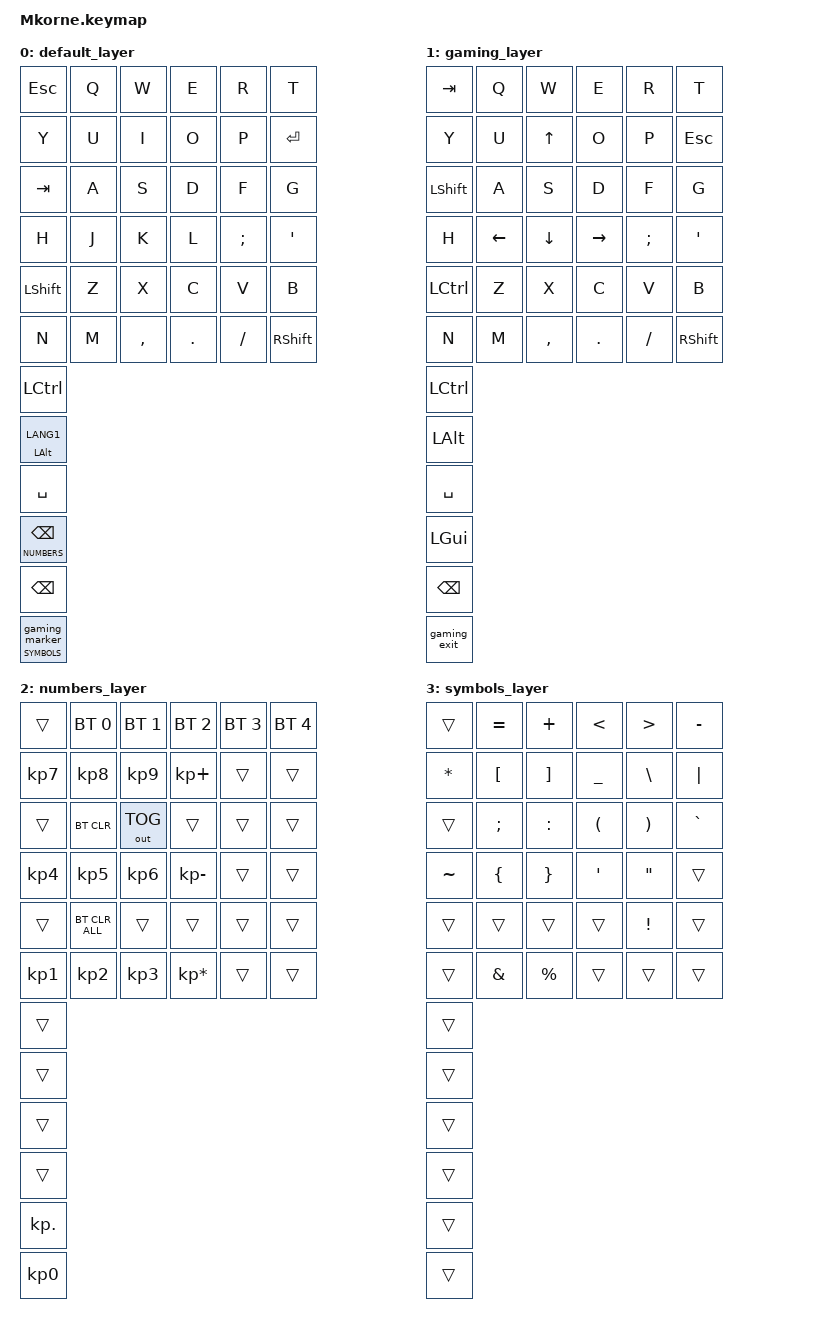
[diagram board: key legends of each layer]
#include <behaviors.dtsi>
#include <dt-bindings/zmk/keys.h>
#include <dt-bindings/zmk/bt.h>
#include <dt-bindings/zmk/outputs.h>

#define DEFAULT 0
#define GAMING  1
#define NUMBERS 2
#define SYMBOLS 3

/ {
    behaviors {

        // ================================================================
        // ALT + SHIFT LANGUAGE SWITCH
        //
        // Tap  = LANG1
        // Hold = ALT
        // ================================================================
        alt_lang: alt_lang {
            compatible = "zmk,behavior-hold-tap";
            #binding-cells = <2>;

            flavor = "hold-preferred";
            tapping-term-ms = <200>;

            bindings = <&kp>, <&kp>;
        };

        // ================================================================
        // NUMBERS marker
        //
        // Wraps &mo NUMBERS so the PC-side overlay can see it live:
        // taps F15 and activates NUMBERS the moment the hold resolves,
        // then (once the physical key is released) deactivates NUMBERS
        // and taps F16. Uses ZMK's documented &macro_pause_for_release
        // pattern (the same one behind the built-in &lm behavior), so
        // the layer is always released cleanly - no stuck-key risk.
        // ================================================================
        numbers_marker: numbers_marker {
            compatible = "zmk,behavior-macro";
            #binding-cells = <0>;
            wait-ms = <0>;
            tap-ms = <0>;

            bindings =
                <&macro_tap &kp F15>,
                <&macro_press &mo NUMBERS>,
                <&macro_pause_for_release>,
                <&macro_release &mo NUMBERS>,
                <&macro_tap &kp F16>;
        };

        // ================================================================
        // NUMBERS / BACKSPACE
        //
        // Tap  = Backspace
        // Hold = NUMBERS layer (via numbers_marker, see above)
        // ================================================================
        unreal_numbers: unreal_numbers {
            compatible = "zmk,behavior-hold-tap";
            #binding-cells = <2>;

            flavor = "hold-preferred";
            tapping-term-ms = <200>;

            bindings = <&numbers_marker>, <&kp>;
        };

        // ================================================================
        // ENTER GAMING
        //
        // Sends F13 first so the PC-side overlay can detect the change,
        // then switches to the GAMING layer.
        // ================================================================
        gaming_marker: gaming_marker {
            compatible = "zmk,behavior-macro";
            #binding-cells = <0>;

            bindings =
                <&macro_tap &kp F13>,
                <&to GAMING>;
        };

        // ================================================================
        // EXIT GAMING
        //
        // Sends F14 first (distinct from the F13 entry marker, so the
        // PC-side overlay can tell entry and exit apart), then switches
        // back to the DEFAULT layer.
        // ================================================================
        gaming_exit: gaming_exit {
            compatible = "zmk,behavior-macro";
            #binding-cells = <0>;

            bindings =
                <&macro_tap &kp F14>,
                <&to DEFAULT>;
        };

        // ================================================================
        // SYMBOLS marker
        //
        // Wraps &mo SYMBOLS the same way numbers_marker wraps &mo NUMBERS:
        // taps F17 and activates SYMBOLS the moment the hold resolves,
        // then (once the physical key is released) deactivates SYMBOLS
        // and taps F18. Lets the PC-side overlay see Symbols live too.
        // ================================================================
        symbols_marker: symbols_marker {
            compatible = "zmk,behavior-macro";
            #binding-cells = <0>;
            wait-ms = <0>;
            tap-ms = <0>;

            bindings =
                <&macro_tap &kp F17>,
                <&macro_press &mo SYMBOLS>,
                <&macro_pause_for_release>,
                <&macro_release &mo SYMBOLS>,
                <&macro_tap &kp F18>;
        };

        // ================================================================
        // GAMING / SYMBOLS
        //
        // Tap  = toggle GAMING
        // Hold = SYMBOLS (via symbols_marker, see above)
        //
        // Used ONLY on the DEFAULT layer.
        // ================================================================
        gaming_symbols: gaming_symbols {
            compatible = "zmk,behavior-hold-tap";
            #binding-cells = <2>;

            flavor = "hold-preferred";
            tapping-term-ms = <200>;

            bindings = <&symbols_marker>, <&gaming_marker>;
        };
    };

    keymap {
        compatible = "zmk,keymap";

        // ================================================================
        // DEFAULT
        // ================================================================
        default_layer {
            bindings = <
                &kp ESC       &kp Q        &kp W        &kp E        &kp R        &kp T
                &kp Y         &kp U        &kp I        &kp O        &kp P        &kp ENTER

                &kp TAB       &kp A        &kp S        &kp D        &kp F        &kp G
                &kp H         &kp J        &kp K        &kp L        &kp SEMI     &kp SQT

                &kp LSHFT     &kp Z        &kp X        &kp C        &kp V        &kp B
                &kp N         &kp M        &kp COMMA    &kp DOT      &kp SLASH    &kp RSHFT

                &kp LCTRL
                &alt_lang LALT LANG1
                &kp SPACE

                &unreal_numbers NUMBERS BSPC
                &kp BSPC
                &gaming_symbols SYMBOLS 0
            >;
        };

        // ================================================================
        // GAMING
        //
        // Bottom-right key exits Gaming and returns to DEFAULT.
        //
        // Arrow cluster:
        //
        //             I = UP
        //
        //         J = LEFT   K = DOWN   L = RIGHT
        // ================================================================
        gaming_layer {
            bindings = <
                &kp TAB       &kp Q        &kp W        &kp E        &kp R        &kp T
                &kp Y         &kp U        &kp UP       &kp O        &kp P        &kp ESC

                &kp LSHFT     &kp A        &kp S        &kp D        &kp F        &kp G
                &kp H         &kp LEFT     &kp DOWN     &kp RIGHT    &kp SEMI     &kp SQT

                &kp LCTRL     &kp Z        &kp X        &kp C        &kp V        &kp B
                &kp N         &kp M        &kp COMMA    &kp DOT      &kp SLASH    &kp RSHFT

                &kp LCTRL
                &kp LALT
                &kp SPACE

                &kp LGUI
                &kp BSPC
                &gaming_exit
            >;
        };

        // ================================================================
        // NUMBERS
        //
        // Hold the UNREAL thumb key to access this layer.
        //
        // LEFT SIDE = Bluetooth / output controls
        //
        // RIGHT SIDE = NUMPAD
        // ================================================================
        numbers_layer {
            bindings = <
                // Row 1
                &trans       &bt BT_SEL 0       &bt BT_SEL 1       &bt BT_SEL 2       &bt BT_SEL 3       &bt BT_SEL 4
                &kp KP_NUMBER_7  &kp KP_NUMBER_8  &kp KP_NUMBER_9  &kp KP_PLUS       &trans             &trans

                // Row 2
                &trans       &bt BT_CLR         &out OUT_TOG       &trans             &trans             &trans
                &kp KP_NUMBER_4  &kp KP_NUMBER_5  &kp KP_NUMBER_6  &kp KP_MINUS      &trans             &trans

                // Row 3
                &trans       &bt BT_CLR_ALL     &trans             &trans             &trans             &trans
                &kp KP_NUMBER_1  &kp KP_NUMBER_2  &kp KP_NUMBER_3  &kp KP_MULTIPLY   &trans             &trans

                // Thumb row
                &trans
                &trans
                &trans

                // "0" can't live on the Numbers-activation key itself - that
                // switch is already held down to get here, so it can never
                // be pressed again. Moved one key over; "/" is still one key
                // away since the slot next to it already falls through to
                // Default's "/" key.
                &trans
                &kp KP_DOT
                &kp KP_NUMBER_0
            >;
        };

        // ================================================================
        // SYMBOLS
        //
        // Placement is ranked by hand comfort, not alphabetically:
        //
        // Tier 1 (home row, zero extra travel) - the highest-frequency pair
        // on each hand:
        //   ( )   { }
        //
        // Tier 2 (one row off home, index/middle fingers):
        //   < >   [ ]
        //
        // Tier 3 (one row off home, index finger):
        //   !     &
        //
        // Everything else is unchanged or reshuffled into the columns the
        // tiered symbols vacated. Both physical Shift keys (Row 3's outer
        // columns) are left untouched.
        // ================================================================
        symbols_layer {
            bindings = <
                // Row 1
                &trans       &kp EQUAL    &kp PLUS     &kp LT          &kp GT          &kp MINUS
                &kp ASTERISK &kp LBKT     &kp RBKT     &kp UNDERSCORE  &kp BSLH        &kp PIPE

                // Row 2
                &trans       &kp SEMI     &kp COLON    &kp LPAR        &kp RPAR        &kp GRAVE
                &kp TILDE    &kp LBRC     &kp RBRC     &kp SQT         &kp DQT         &trans

                // Row 3
                &trans       &trans       &trans       &trans          &kp EXCL        &trans
                &trans       &kp AMPS     &kp PRCNT    &trans          &trans          &trans

                // Thumb row
                &trans
                &trans
                &trans

                &trans
                &trans
                &trans
            >;
        };
    };
};
